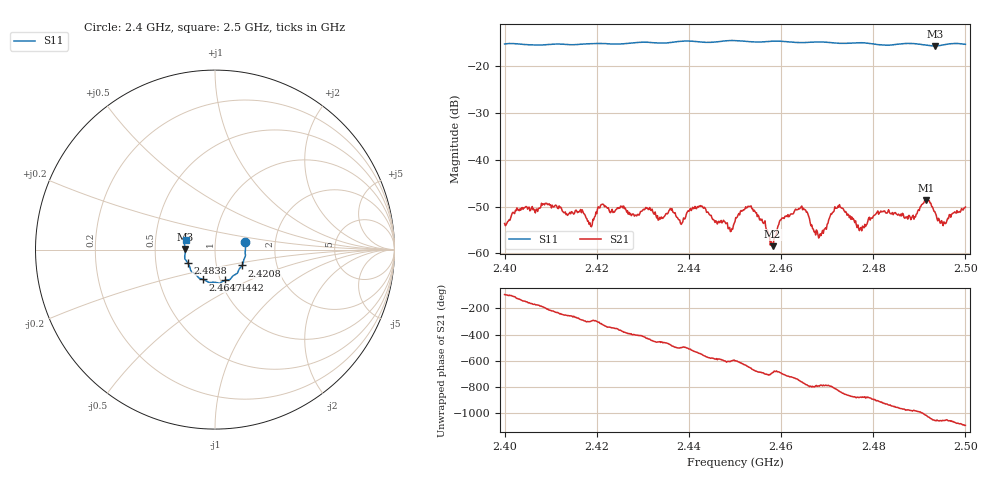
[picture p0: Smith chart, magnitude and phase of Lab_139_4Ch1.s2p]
# Hz S RI R 50
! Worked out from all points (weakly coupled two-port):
!   601 points, 2.4 GHz to 2.5 GHz, reference 50 ohm
!   highest |S21| = -48.56 dB at 2.4915 GHz (marker M1); lowest = -58.5 dB at 2.4582 GHz (marker M2)
!   lowest |S11| = -15.6 dB at 2.4935 GHz (marker M3), VSWR 1.40, Z = 35.8 + j0.199 ohm
!   |S11| at or under -10 dB: start of sweep to end of sweep
!   S12 and S22 are empty: the file has one direction only
!   S11 on the Smith chart (normalised r, x): 2.4 GHz: 1.40, +0.12; 2.4208 GHz: 1.33, -0.24; 2.4442 GHz: 1.05, -0.37; 2.4647 GHz: 0.83, -0.29; 2.4838 GHz: 0.73, -0.11; 2.5 GHz: 0.71, +0.08
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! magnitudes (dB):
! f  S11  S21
! 2.4 GHz  -15.2  -53.6
! 2.4085 GHz  -15.4  -49.5
! 2.4167 GHz  -15.3  -51.3
! 2.4185 GHz  -15.2  -53.4
! 2.4208 GHz  -15.1  -49.7
! 2.4333 GHz  -15.0  -52.9
! 2.4442 GHz  -14.9  -51.2
! 2.45 GHz  -14.5  -53.2
! 2.4533 GHz  -14.7  -49.9
! 2.4582 GHz  -14.6  -58.5
! 2.46 GHz  -14.6  -52.8
! 2.4647 GHz  -14.9  -50.7
! 2.4667 GHz  -14.8  -53.9
! 2.4687 GHz  -14.8  -56.2
! 2.4722 GHz  -15.1  -50.3
! 2.477 GHz  -15.0  -55.1
! 2.4833 GHz  -15.5  -50.7
! 2.4838 GHz  -15.5  -51.5
! 2.4887 GHz  -15.1  -51.8
! 2.4915 GHz  -15.5  -48.6
! 2.4935 GHz  -15.6  -51.4
! 2.5 GHz  -15.3  -50.1
